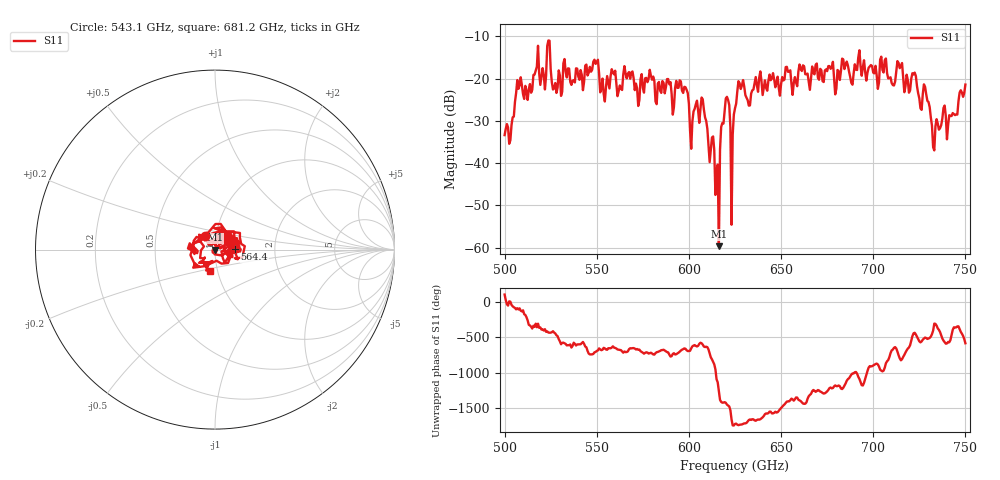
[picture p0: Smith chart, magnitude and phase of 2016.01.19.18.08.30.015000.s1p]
!Created with skrf (http://scikit-rf.org).
# GHz S RI R 50.0
!freq ReS11 ImS11
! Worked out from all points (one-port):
!   401 points, 500 GHz to 750 GHz, reference 50 ohm
!   lowest |S11| = -59.6 dB at 616.2 GHz (marker M1), VSWR 1.00, Z = 49.9 - j0.00177 ohm
!   |S11| at or under -10 dB: start of sweep to end of sweep
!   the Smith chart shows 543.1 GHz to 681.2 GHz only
!   S11 on the Smith chart (normalised r, x): 543.1 GHz: 0.89, +0.13; 564.4 GHz: 1.25, +0.01; 681.2 GHz: 0.92, -0.22
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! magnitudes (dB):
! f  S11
! 500 GHz  -33.4
! 503.8 GHz  -31.0
! 507.5 GHz  -22.4
! 523.8 GHz  -11.0
! 526.9 GHz  -22.3
! 531.2 GHz  -23.1
! 543.1 GHz  -20.7
! 549.4 GHz  -16.5
! 553.1 GHz  -20.0
! 562.5 GHz  -21.6
! 564.4 GHz  -19.0
! 593.8 GHz  -22.2
! 601.2 GHz  -36.6
! 608.1 GHz  -27.3
! 615 GHz  -41.7
! 616.2 GHz  -59.6
! 620 GHz  -24.7
! 623.8 GHz  -33.3
! 625 GHz  -27.0
! 628.1 GHz  -22.5
! 656.2 GHz  -23.9
! 681.2 GHz  -18.3
! 687.5 GHz  -19.6
! 714.4 GHz  -17.5
! 718.8 GHz  -20.4
! 728.8 GHz  -23.7
! 733.1 GHz  -37.0
! 750 GHz  -21.4
